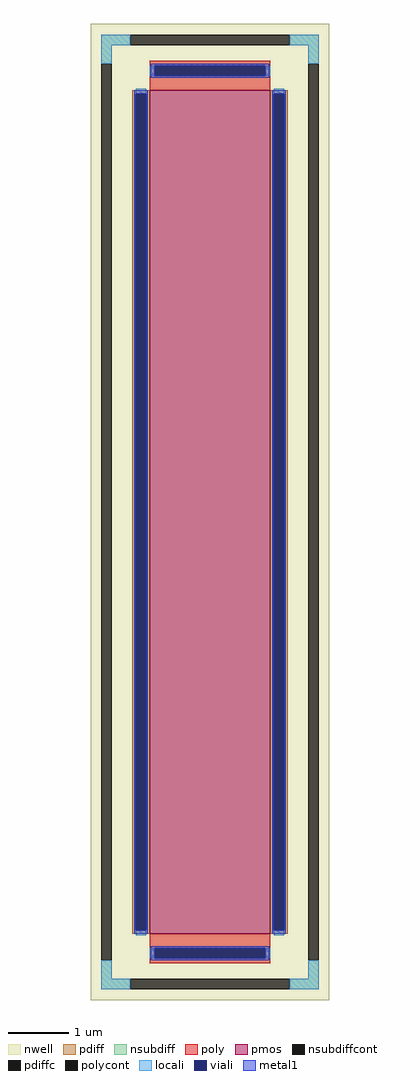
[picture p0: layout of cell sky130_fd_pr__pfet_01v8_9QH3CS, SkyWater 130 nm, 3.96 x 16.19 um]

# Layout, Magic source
magic
tech sky130A
magscale 1 2
<< nwell >>
rect -396 -1619 396 1619
<< pmos >>
rect -200 -1400 200 1400
<< pdiff >>
rect -258 1388 -200 1400
rect -258 -1388 -246 1388
rect -212 -1388 -200 1388
rect -258 -1400 -200 -1388
rect 200 1388 258 1400
rect 200 -1388 212 1388
rect 246 -1388 258 1388
rect 200 -1400 258 -1388
<< pdiffc >>
rect -246 -1388 -212 1388
rect 212 -1388 246 1388
<< nsubdiff >>
rect -360 1549 -264 1583
rect 264 1549 360 1583
rect -360 1487 -326 1549
rect 326 1487 360 1549
rect -360 -1549 -326 -1487
rect 326 -1549 360 -1487
rect -360 -1583 -264 -1549
rect 264 -1583 360 -1549
<< nsubdiffcont >>
rect -264 1549 264 1583
rect -360 -1487 -326 1487
rect 326 -1487 360 1487
rect -264 -1583 264 -1549
<< poly >>
rect -200 1481 200 1497
rect -200 1447 -184 1481
rect 184 1447 200 1481
rect -200 1400 200 1447
rect -200 -1447 200 -1400
rect -200 -1481 -184 -1447
rect 184 -1481 200 -1447
rect -200 -1497 200 -1481
<< polycont >>
rect -184 1447 184 1481
rect -184 -1481 184 -1447
<< locali >>
rect -360 1549 -264 1583
rect 264 1549 360 1583
rect -360 1487 -326 1549
rect 326 1487 360 1549
rect -200 1447 -184 1481
rect 184 1447 200 1481
rect -246 1388 -212 1404
rect -246 -1404 -212 -1388
rect 212 1388 246 1404
rect 212 -1404 246 -1388
rect -200 -1481 -184 -1447
rect 184 -1481 200 -1447
rect -360 -1549 -326 -1487
rect 326 -1549 360 -1487
rect -360 -1583 -264 -1549
rect 264 -1583 360 -1549
<< viali >>
rect -184 1447 184 1481
rect -246 -1388 -212 1388
rect 212 -1388 246 1388
rect -184 -1481 184 -1447
<< metal1 >>
rect -196 1481 196 1487
rect -196 1447 -184 1481
rect 184 1447 196 1481
rect -196 1441 196 1447
rect -252 1388 -206 1400
rect -252 -1388 -246 1388
rect -212 -1388 -206 1388
rect -252 -1400 -206 -1388
rect 206 1388 252 1400
rect 206 -1388 212 1388
rect 246 -1388 252 1388
rect 206 -1400 252 -1388
rect -196 -1447 196 -1441
rect -196 -1481 -184 -1447
rect 184 -1481 196 -1447
rect -196 -1487 196 -1481
<< properties >>
string FIXED_BBOX -343 -1566 343 1566
string gencell sky130_fd_pr__pfet_01v8
string library sky130
string parameters w 14.0 l 2.0 m 1 nf 1 diffcov 100 polycov 100 guard 1 glc 1 grc 1 gtc 1 gbc 1 tbcov 100 rlcov 100 topc 1 botc 1 poverlap 0 doverlap 1 lmin 0.15 wmin 0.42 compatible {sky130_fd_pr__pfet_01v8  sky130_fd_pr__pfet_01v8_lvt sky130_fd_pr__pfet_01v8_hvt  sky130_fd_pr__pfet_g5v0d10v5} full_metal 1 viasrc 100 viadrn 100 viagate 100 viagb 0 viagr 0 viagl 0 viagt 0
<< end >>
